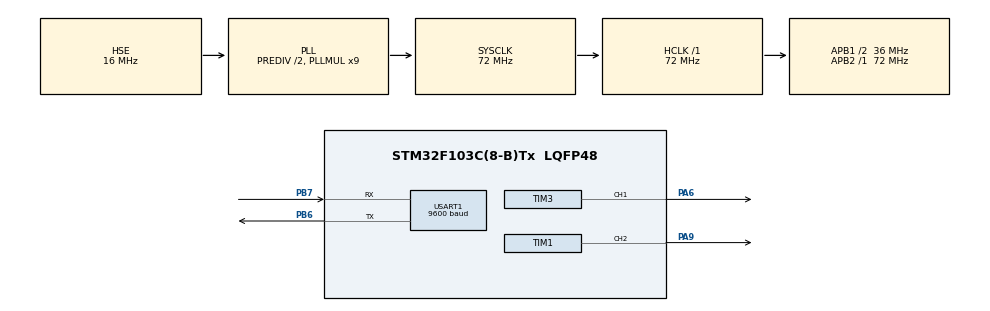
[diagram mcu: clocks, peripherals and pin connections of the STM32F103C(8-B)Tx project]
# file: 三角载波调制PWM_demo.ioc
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Mcu.Family=STM32F1
Mcu.Name=STM32F103C(8-B)Tx
Mcu.Package=LQFP48
NVIC.PriorityGroup=NVIC_PRIORITYGROUP_4
NVIC.TIM2_IRQn=true\:0\:0\:false\:false\:true\:true\:true\:true
NVIC.TIM3_IRQn=true\:0\:0\:false\:false\:true\:true\:true\:true
NVIC.USART1_IRQn=true\:0\:0\:false\:false\:true\:true\:true\:true
PA13.Mode=Serial_Wire
PA13.Signal=SYS_JTMS-SWDIO
PA14.Mode=Serial_Wire
PA14.Signal=SYS_JTCK-SWCLK
PA6.Signal=S_TIM3_CH1
PA9.Signal=S_TIM1_CH2
PB6.Mode=Asynchronous
PB6.Signal=USART1_TX
PB7.Mode=Asynchronous
PB7.Signal=USART1_RX
PD0-OSC_IN.Mode=HSE-External-Oscillator
PD0-OSC_IN.Signal=RCC_OSC_IN
PD1-OSC_OUT.Mode=HSE-External-Oscillator
PD1-OSC_OUT.Signal=RCC_OSC_OUT
ProjectManager.HeapSize=0x200
ProjectManager.StackSize=0x400
ProjectManager.TargetToolchain=MDK-ARM V5.32
RCC.AHBFreq_Value=72000000
RCC.APB1CLKDivider=RCC_HCLK_DIV2
RCC.APB1Freq_Value=36000000
RCC.APB1TimFreq_Value=72000000
RCC.APB2Freq_Value=72000000
RCC.APB2TimFreq_Value=72000000
RCC.HCLKFreq_Value=72000000
RCC.HSEDivPLL=RCC_HSE_PREDIV_DIV2
RCC.HSE_VALUE=16000000
RCC.PLLMUL=RCC_PLL_MUL9
RCC.PLLSourceVirtual=RCC_PLLSOURCE_HSE
RCC.SYSCLKFreq_VALUE=72000000
RCC.SYSCLKSource=RCC_SYSCLKSOURCE_PLLCLK
RCC.USBFreq_Value=72000000
SH.S_TIM1_CH2.0=TIM1_CH2,PWM Generation2 CH2
SH.S_TIM3_CH1.0=TIM3_CH1,PWM Generation1 CH1
TIM1.AutoReloadPreload=TIM_AUTORELOAD_PRELOAD_ENABLE
TIM1.Channel-PWM\ Generation2\ CH2=TIM_CHANNEL_2
TIM1.ClockDivision=TIM_CLOCKDIVISION_DIV1
TIM1.OCMode_PWM-PWM\ Generation2\ CH2=TIM_OCMODE_PWM2
TIM1.Period=1000-1
TIM1.Prescaler=1-1
TIM1.Pulse-PWM\ Generation2\ CH2=500
TIM1.RepetitionCounter=0
TIM1.TIM_MasterOutputTrigger=TIM_TRGO_UPDATE
TIM1.TIM_MasterSlaveMode=TIM_MASTERSLAVEMODE_ENABLE
TIM2.AutoReloadPreload=TIM_AUTORELOAD_PRELOAD_DISABLE
TIM3.AutoReloadPreload=TIM_AUTORELOAD_PRELOAD_DISABLE
TIM3.Channel-PWM\ Generation1\ CH1=TIM_CHANNEL_1
TIM3.Period=1000-1
TIM3.Prescaler=72-1
TIM3.Pulse-PWM\ Generation1\ CH1=500
USART1.BaudRate=9600
USART1.VirtualMode=VM_ASYNC
VP_TIM1_VS_ClockSourceINT.Mode=Internal
VP_TIM2_VS_ClockSourceINT.Mode=Internal
VP_TIM2_VS_ClockSourceITR.Mode=TriggerSource_ITR0
VP_TIM2_VS_ControllerModeGated.Mode=Gated Mode
VP_TIM3_VS_ClockSourceINT.Mode=Internal
board=custom

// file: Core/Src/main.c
/* USER CODE BEGIN Header */
/**
  ******************************************************************************
  * @file           : main.c
  * @brief          : Main program body
  ******************************************************************************
  * @attention
  *
  * Copyright (c) 2026 STMicroelectronics.
  * All rights reserved.
  *
  * This software is licensed under terms that can be found in the LICENSE file
  * in the root directory of this software component.
  * If no LICENSE file comes with this software, it is provided AS-IS.
  *
  ******************************************************************************
  */
/* USER CODE END Header */
#include "main.h"
#include "tim.h"
#include "usart.h"
#include "gpio.h"

/* USER CODE BEGIN PD */
CCMRAM volatile uint8_t PWM_IT = 0;

int8_t step_cal = 1;

CCMRAM volatile uint8_t isRunning = 0;
/* USER CODE END PD */

void SystemClock_Config(void);

/* USER CODE BEGIN 0 */
uint32_t step = 0;
/* USER CODE END 0 */

int main(void)
{

  /* MCU Configuration--------------------------------------------------------*/

  /* Reset of all peripherals, Initializes the Flash interface and the Systick. */
  HAL_Init();

  /* Configure the system clock */
  SystemClock_Config();

  /* Initialize all configured peripherals */
  MX_GPIO_Init();
  MX_TIM2_Init();
  MX_USART1_UART_Init();
  MX_TIM1_Init();
  MX_TIM3_Init();
  /* USER CODE BEGIN 2 */
  HAL_Delay(100);

  HAL_TIM_PWM_Start(&htim3, TIM_CHANNEL_1);

__HAL_TIM_SET_AUTORELOAD(&htim2,10-1); //设置要输出的PWM脉冲数 5个
HAL_TIM_Base_Start_IT(&htim2);             //启动从定时器
HAL_TIM_PWM_Start(&htim1, TIM_CHANNEL_2);  //启动主定时器PWM输出

  HAL_Delay(100);
  /* USER CODE END 2 */

  /* Infinite loop */
  while (1)
  {

    /* USER CODE BEGIN 3 */

    if (PWM_IT == 1)
    {
      PWM_IT = 0;

      step = step + step_cal;

      if(step == 50)
      {
        step_cal = -1;   //step--
      }
      else if(step == 1)
      {
        step_cal = 1;   //step++
      }

      while(isRunning <= 2);
      HAL_TIM_Base_Stop_IT(&htim3);                  // 关闭从定时器
      isRunning = 0;
      //HAL_Delay(1);
      __HAL_TIM_SET_AUTORELOAD(&htim2, step);
      HAL_TIM_Base_Start_IT(&htim2);
      HAL_TIM_PWM_Start(&htim1, TIM_CHANNEL_2);
    }

  }
  /* USER CODE END 3 */
}

void SystemClock_Config(void)
{
  RCC_OscInitTypeDef RCC_OscInitStruct = {0};
  RCC_ClkInitTypeDef RCC_ClkInitStruct = {0};

  /** Initializes the RCC Oscillators according to the specified parameters
  * in the RCC_OscInitTypeDef structure.
  */
  RCC_OscInitStruct.OscillatorType = RCC_OSCILLATORTYPE_HSE;
  RCC_OscInitStruct.HSEState = RCC_HSE_ON;
  RCC_OscInitStruct.HSEPredivValue = RCC_HSE_PREDIV_DIV2;
  RCC_OscInitStruct.HSIState = RCC_HSI_ON;
  RCC_OscInitStruct.PLL.PLLState = RCC_PLL_ON;
  RCC_OscInitStruct.PLL.PLLSource = RCC_PLLSOURCE_HSE;
  RCC_OscInitStruct.PLL.PLLMUL = RCC_PLL_MUL9;
  if (HAL_RCC_OscConfig(&RCC_OscInitStruct) != HAL_OK)
  {
    Error_Handler();
  }

  /** Initializes the CPU, AHB and APB buses clocks
  */
  RCC_ClkInitStruct.ClockType = RCC_CLOCKTYPE_HCLK|RCC_CLOCKTYPE_SYSCLK
                              |RCC_CLOCKTYPE_PCLK1|RCC_CLOCKTYPE_PCLK2;
  RCC_ClkInitStruct.SYSCLKSource = RCC_SYSCLKSOURCE_PLLCLK;
  RCC_ClkInitStruct.AHBCLKDivider = RCC_SYSCLK_DIV1;
  RCC_ClkInitStruct.APB1CLKDivider = RCC_HCLK_DIV2;
  RCC_ClkInitStruct.APB2CLKDivider = RCC_HCLK_DIV1;

  if (HAL_RCC_ClockConfig(&RCC_ClkInitStruct, FLASH_LATENCY_2) != HAL_OK)
  {
    Error_Handler();
  }
}

void Error_Handler(void)
{
  __disable_irq();
  while (1)
  {
  }
}
